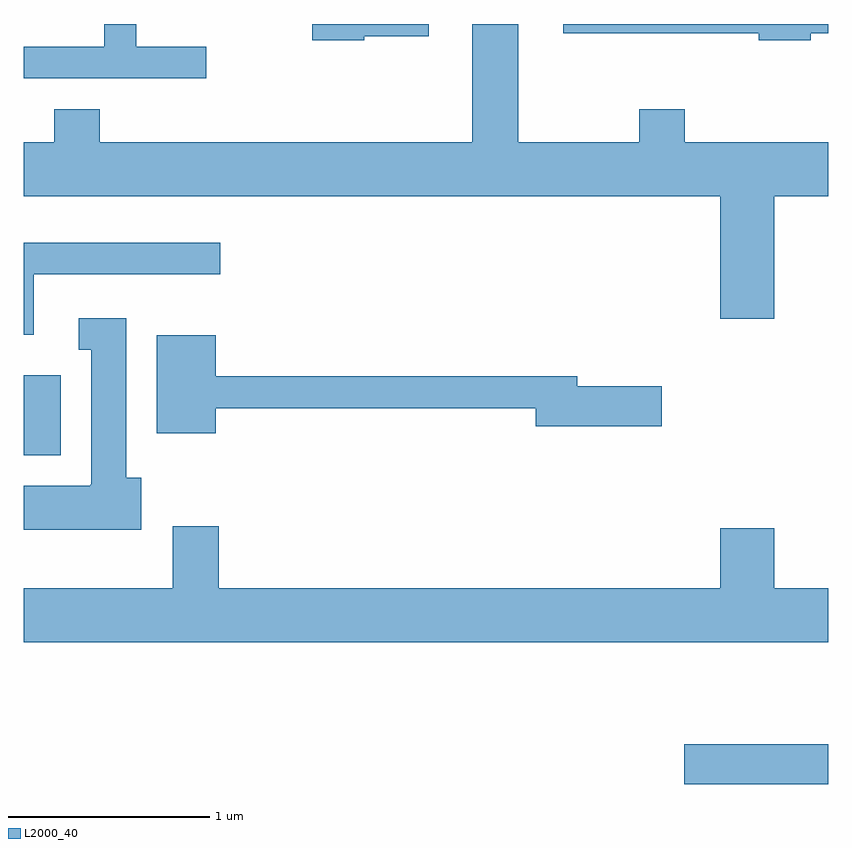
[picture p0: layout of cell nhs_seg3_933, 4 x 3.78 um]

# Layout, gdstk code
import gdstk
lib = gdstk.Library(unit=1e-6, precision=1e-09)
def R(c, l, rs):  # rectangles x0, y0, x1, y1
    for r in rs: c.add(gdstk.rectangle(r[:2], r[2:], *l))
def P(c, l, *ps):  # polygons
    for p in ps: c.add(gdstk.Polygon(p, *l))
L2000_40 = (2000, 40)

nhs_seg3_933 = lib.new_cell('nhs_seg3_933')
R(nhs_seg3_933, L2000_40, [(214.896,1214.111,215.611,1214.309), (211.611,1215.746,211.794,1216.144)])
P(nhs_seg3_933, L2000_40, [(215.344,1217.036),(215.611,1217.036),(215.611,1217.304),(214.899,1217.304),(214.899,1217.469),(214.671,1217.469),(214.671,1217.304),(214.069,1217.304),(214.069,1217.892),(213.841,1217.892),(213.841,1217.304),(211.989,1217.304),(211.989,1217.469),(211.761,1217.469),(211.761,1217.304),(211.611,1217.304),(211.611,1217.036),(215.076,1217.036),(215.076,1216.426),(215.344,1216.426)],
  [(213.304,1217.831),(213.624,1217.831),(213.624,1217.892),(213.046,1217.892),(213.046,1217.811),(213.304,1217.811)],
  [(215.524,1217.846),(215.611,1217.846),(215.611,1217.892),(214.293,1217.892),(214.293,1217.846),(215.266,1217.846),(215.266,1217.811),(215.524,1217.811)],
  [(212.518,1217.779),(212.169,1217.779),(212.169,1217.892),(212.011,1217.892),(212.011,1217.779),(211.611,1217.779),(211.611,1217.621),(212.518,1217.621)],
  [(211.659,1216.646),(212.588,1216.646),(212.588,1216.804),(211.611,1216.804),(211.611,1216.346),(211.659,1216.346)],
  [(212.194,1215.634),(212.119,1215.634),(212.119,1216.429),(211.883,1216.429),(211.883,1216.271),(211.946,1216.271),(211.946,1215.6),(211.94,1215.6),(211.94,1215.594),(211.611,1215.594),(211.611,1215.376),(212.194,1215.376)],
  [(212.564,1215.981),(214.156,1215.981),(214.156,1215.891),(214.784,1215.891),(214.784,1216.089),(214.364,1216.089),(214.364,1216.139),(212.564,1216.139),(212.564,1216.344),(212.271,1216.344),(212.271,1215.856),(212.564,1215.856)],
  [(215.611,1215.084),(215.344,1215.084),(215.344,1215.384),(215.076,1215.384),(215.076,1215.084),(212.579,1215.084),(212.579,1215.394),(212.351,1215.394),(212.351,1215.084),(211.611,1215.084),(211.611,1214.816),(215.611,1214.816)])

lib.write_gds('nhs_seg3_933.gds')
